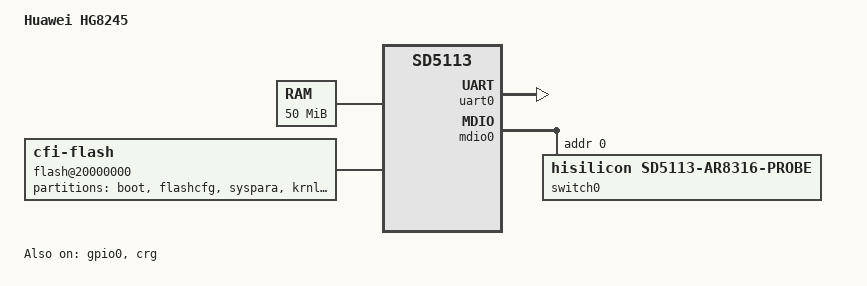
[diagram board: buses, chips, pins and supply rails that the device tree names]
// SPDX-License-Identifier: GPL-2.0

/dts-v1/;

#include <dt-bindings/clock/sd5113-crg.h>
#include <dt-bindings/gpio/gpio.h>

/ {
	model = "Huawei HG8245";
	compatible = "huawei,hg8245", "hisilicon,sd5113";
	#address-cells = <1>;
	#size-cells = <1>;
	interrupt-parent = <&intc>;


	aliases {
		serial0 = &uart0;
		serial1 = &uart1;
	};


	/* CONFIRMED: arch/arm/mach-sd5113_v100_p01/core.c machine descriptor,
	 * raw offset 0x174a8 in vendor vmlinux. nr=0x183, boot_params=0x90000100 */
	chosen {
		stdout-path = "serial0:115200n8";
		bootargs = "earlycon console=ttyS0,115200n8";
	};


	memory@90000000 {
		device_type = "memory";
		/* STAGE 3: kernel gets 50 MB, like the vendor (`mem=50M`, CONFIRMED in
		 * bootlog.txt). Physical bank is 64 MB, but the top 14 MB are unexplained
		 * (vendor userspace uses BootCountAddr=0x933ff000 there). Widen later. */
		reg = <0x90000000 0x03200000>;
	};


	ahb_fixed: clock-ahb {
		compatible = "fixed-clock";
		#clock-cells = <0>;
		clock-frequency = <133250000>;
		clock-output-names = "ahb_fixed";
	};

	/* Timer2 (/1) drops 5,029,302 counts over 515 Timer1 ticks at HZ=100. */
	sys_timer2: clock-timer2 {
		compatible = "fixed-clock";
		#clock-cells = <0>;
		clock-frequency = <976563>;
	};

	cpus {
		#address-cells = <1>;
		#size-cells = <0>;
		cpu@0 {
			/* CONFIRMED: boot log "CPU: ARMv6-compatible processor
			 * [410fb767] revision 7 (ARMv6TEJ)" - ARM1176 family */
			device_type = "cpu";
			compatible = "arm,arm1176jzf-s";
			clock-frequency = <533000000>; /* vendor ARMCORECLK constant */
			reg = <0>;
		};
	};


	soc {
		compatible = "simple-bus";
		#address-cells = <1>;
		#size-cells = <1>;
		ranges;

		/* Everything below is memory-mapped SoC peripherals; simple-bus + identity
		 * `ranges` is what makes the kernel create platform devices for them. */


			flash@20000000 {
				compatible = "cfi-flash"; /* HYPOTHESIS - см. комментарий выше про hisilicon-flash.c */
				reg = <0x20000000 0x01000000>; /* CONFIRMED база и размер (16MB) */
				bank-width = <2>; /* CONFIRMED (STAGE 10): vendor boot log "hisilicon: Found 1 x16 devices at 0x0 in 16-bit bank"; chip per its own message: NUMONYX JS28F128M29EWHA, 16 MiB; see patch 020 for its MaxBufWriteSize quirk */

				partitions {
					/* STAGE 3: every partition read-only for the first RAM-boot sessions so
					 * nothing in the test session can write the flash. Remove per partition
					 * once you deliberately want to write. */
					compatible = "fixed-partitions";
					#address-cells = <1>;
					#size-cells = <1>;

					partition@0 {
						label = "boot";
						read-only;
						reg = <0x00000000 0x00040000>;
					};
					partition@40000 {
						label = "flashcfg";
						read-only;
						reg = <0x00040000 0x00001000>;
					};
					syspara: partition@41000 {
						label = "syspara";
						read-only;
						reg = <0x00041000 0x0001f000>;
					};
					partition@60000 {
						label = "krnl";
						read-only;
						reg = <0x00060000 0x00180000>;
					};
					partition@1e0054 {
						label = "rootfs";
						read-only;
						reg = <0x001e0054 0x008fffac>;
					};
					partition@c16fdc {
						label = "minisystem";
						read-only;
						reg = <0x00c16fdc 0x00249024>;
					};
					partition@e60000 {
						label = "jffs2cfg";
						read-only;
						reg = <0x00e60000 0x00180000>;
					};
					partition@fe0000 {
						label = "reserved";
						read-only;
						reg = <0x00fe0000 0x00020000>;

						nvmem-layout {
							compatible = "fixed-layout";
							#address-cells = <1>;
							#size-cells = <1>;

							wifi_cal: calibration@0 {
								reg = <0 0xae0>;
							};
						};
					};
				};
			};


		intc: interrupt-controller@40000000 {
			compatible = "hisilicon,sd5113-intc";
			reg = <0x40000000 0x34>;
			interrupt-controller;
			#address-cells = <0>;
			#interrupt-cells = <1>;
		};


		timer@16144000 {
			compatible = "arm,sp804";
			reg = <0x16144000 0x40>;
			interrupts = <4>;
			clocks = <&ahb_fixed>, <&sys_timer2>, <&ahb_fixed>;
			clock-names = "timer0clk", "timer1clk", "apb_pclk";
		};


		uart0: serial@1614f000 {
			compatible = "snps,dw-apb-uart";
			reg = <0x1614f000 0x100>;
			reg-shift = <2>;
			reg-io-width = <4>;
			interrupts = <17>; /* CONFIRMED from vendor boot log */
			clocks = <&ahb_fixed>; /* 133.25 MHz, vendor UARTCLK constant, see ahb_fixed */
			status = "okay";
		};


		uart1: serial@1614e000 {
			compatible = "snps,dw-apb-uart";
			reg = <0x1614e000 0x100>;
			reg-shift = <2>;
			reg-io-width = <4>;
			interrupts = <16>; /* CONFIRMED from vendor boot log */
			clocks = <&ahb_fixed>;
			status = "disabled";
		};


		gpio0: gpio@16146000 {
			compatible = "hisilicon,sd5113-gpio";
			reg = <0x16146000 0x8000>;
			hisilicon,crg = <&crg>;
			gpio-controller;
			#gpio-cells = <2>;
			status = "okay"; /* Stage 1: GPIO provider; no pins are driven at probe */
		};


		/* Адрес живьём подтверждён в boot-логе этого устройства (map_io
		 * iotable dump: physical page 90448 = 0x16150000, len 0x1000). */
		spi0: spi@16150000 {
			compatible = "hisilicon,sd5113-spi"; /* no register-level driver yet */
			reg = <0x16150000 0x64>;
			clocks = <&crg SD5113_CLK_SPI>;
			#address-cells = <1>;
			#size-cells = <0>;
			status = "disabled"; /* no working driver - placeholder node only */
		};


		i2c0: i2c@16151000 {
			compatible = "hisilicon,sd5113-i2c"; /* no register-level driver yet */
			reg = <0x16151000 0x100>;
			clocks = <&crg SD5113_CLK_I2C>;
			#address-cells = <1>;
			#size-cells = <0>;
			status = "disabled"; /* no working driver - placeholder node only */
		};


		mdio0: mdio@43b0a000 {
			compatible = "hisilicon,sd5113-mdio";
			reg = <0x43b0a000 0xb04>;
			hisilicon,crg = <&crg>;
			#address-cells = <1>;
			#size-cells = <0>;
			status = "okay"; /* Stage 1 hardware probe: SD5113 MDIO bus */

			switch0: switch@0 {
				compatible = "hisilicon,sd5113-ar8316-probe"; /* read-only identification driver */
				reg = <0>;
				status = "okay"; /* Stage 1: read-only AR8316 ID/POSTRIP probe */

			};
		};



		pci: pci@30000000 {
			compatible = "hisilicon,sd5113-pci";
			device_type = "pci";
			hisilicon,crg = <&crg>;
			reg = <0x30000000 0x1000>;	/* host controller register window */
			#address-cells = <3>;
			#size-cells = <2>;
			#interrupt-cells = <1>;
			interrupts = <21>;
			bus-range = <0 0>;

			/* CONFIRMED resource windows, from vendor static resource
			 * descriptors in vmlinux (raw offset 0x2b2704) */
			ranges = <0x01000000 0 0x31000000 0x31000000 0 0x00100000>, /* I/O */
				 <0x02000000 0 0x38000000 0x38000000 0 0x00500000>, /* non-prefetch MEM */
				 <0x42000000 0 0x32000000 0x32000000 0 0x00100000>; /* prefetch MEM */

			interrupt-map-mask = <0xf800 0 0 7>;
			interrupt-map = <0x1000 0 0 1 &pci_intx 0>;
			status = "disabled";

			pci_intx: interrupt-controller {
				interrupt-controller;
				#address-cells = <0>;
				#interrupt-cells = <1>;
			};

			wifi@2,0 {
				reg = <0x1000 0 0 0 0>;
				nvmem-cells = <&wifi_cal>;
				nvmem-cell-names = "calibration";
			};
		};


		ehci@40010000 {
			compatible = "generic-ehci";
			reg = <0x40010000 0x1000>;
			interrupts = <23>;
			status = "disabled";
		};


		ohci@40020000 {
			compatible = "generic-ohci";
			reg = <0x40020000 0x1000>;
			interrupts = <24>;
			status = "disabled";
		};


		ethernet@42000010 {
			compatible = "hisilicon,sd5113-eth";
			reg = <0x42000010 0xbc>, <0x42100000 0xd8>,
			      <0x42e00000 0x3c>, <0x42c80000 0x08>,
			      <0x43188000 0x0e00>, <0x4318c000 0x100>,
			      <0x43190000 0x100>;
			reg-names = "glb", "cpurtx", "fe-cpu", "fe-mode",
				    "fe-classifier", "fe-policy", "fe-dest";
			hisilicon,board-gpio = <&gpio0>;
			interrupts = <25>; /* CONFIRMED: confirmed-map.json ethernet.irq,
					    * cross-checked against the real UART boot
					    * log's PCI IRQ table context (unrelated
					    * device, same IRQ controller numbering). */
			status = "disabled";
		};


		crg: clock-controller@16140000 {
			compatible = "hisilicon,sd5113-crg", "syscon";
			reg = <0x16140000 0x100>;
			#clock-cells = <1>;
			status = "okay";
		};
	};
};
